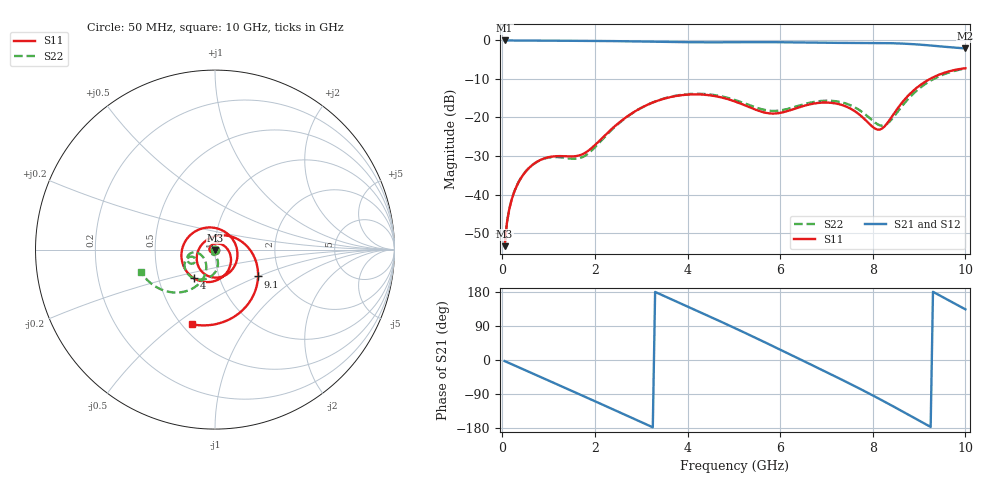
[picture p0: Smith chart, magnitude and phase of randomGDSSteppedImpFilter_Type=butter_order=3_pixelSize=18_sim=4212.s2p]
! freq	dB(S11)	phase(S11)	dB(S12)	phase(S12)
!  dB(S21)	phase(S21)	dB(S22)	phase(S22)
!S-par simulation data
#  GHz  S  DB  R 50
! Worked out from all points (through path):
!   200 points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, 50 MHz to 10 GHz, reference 50 ohm
!   highest |S21| = -0.01 dB at 50 MHz (marker M1); lowest = -2.1 dB at 10 GHz (marker M2)
!   group delay of S21, straight-line fit = 161 ps
!   lowest |S11| = -53.4 dB at 50 MHz (marker M3), VSWR 1.00, Z = 50 - j0.213 ohm
!   |S11| at or under -10 dB: start of sweep to 9.235 GHz
!   |S22| runs from -53.3 to -7.3 dB; largest |S21 - S12| = 0
!   S11 on the Smith chart (normalised r, x): 50 MHz: 1.00, -0.00; 4 GHz: 0.75, -0.25; 9.1 GHz: 1.53, -0.50; 10 GHz: 0.56, -0.58
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0.05  -53.39 -83.9  -0.01 -2.8  -0.01 -2.8  -53.33 -81.9
0.1  -47.29 -91.8  -0.01 -5.5  -0.01 -5.5  -47.22 -87.8
0.2  -41.42 -102.2  -0.02 -10.9  -0.02 -10.9  -41.34 -94.3
0.5  -34.10 -127.7  -0.04 -27.2  -0.04 -27.2  -34.06 -107.0
1.15  -30.05 173.0  -0.08 -62.4  -0.08 -62.4  -30.27 -121.5
1.75  -29.42 86.0  -0.11 -95.1  -0.11 -95.1  -30.18 -97.4
2.2  -24.83 18.9  -0.15 -119.7  -0.15 -119.7  -25.19 -76.9
2.65  -20.13 -26.4  -0.21 -144.5  -0.21 -144.5  -20.23 -81.5
3.4  -15.46 -84.2  -0.36 174.1  -0.36 174.1  -15.42 -106.5
4  -14.06 -126.7  -0.46 141.2  -0.46 141.2  -13.94 -129.5
4.55  -14.36 -167.6  -0.49 110.8  -0.49 110.8  -14.13 -148.9
5.05  -15.96 149.0  -0.47 82.6  -0.47 82.6  -15.56 -161.4
5.5  -18.11 98.0  -0.45 56.7  -0.45 56.7  -17.49 -162.8
5.95  -18.90 33.2  -0.46 30.3  -0.46 30.3  -18.24 -152.8
6.7  -16.44 -57.6  -0.57 -14.1  -0.57 -14.1  -16.02 -150.8
7.6  -18.27 -145.1  -0.64 -68.3  -0.64 -68.3  -17.29 -171.6
8.1  -23.14 126.1  -0.66 -99.9  -0.66 -99.9  -21.74 -157.2
8.35  -20.85 61.6  -0.70 -116.3  -0.70 -116.3  -21.23 -127.2
8.75  -14.51 2.4  -0.88 -143.0  -0.88 -143.0  -15.37 -112.2
9.1  -10.97 -32.0  -1.17 -166.6  -1.17 -166.6  -11.59 -121.9
9.5  -8.58 -66.2  -1.58 166.7  -1.58 166.7  -8.96 -139.4
10  -7.22 -107.1  -2.08 133.7  -2.08 133.7  -7.30 -163.3
